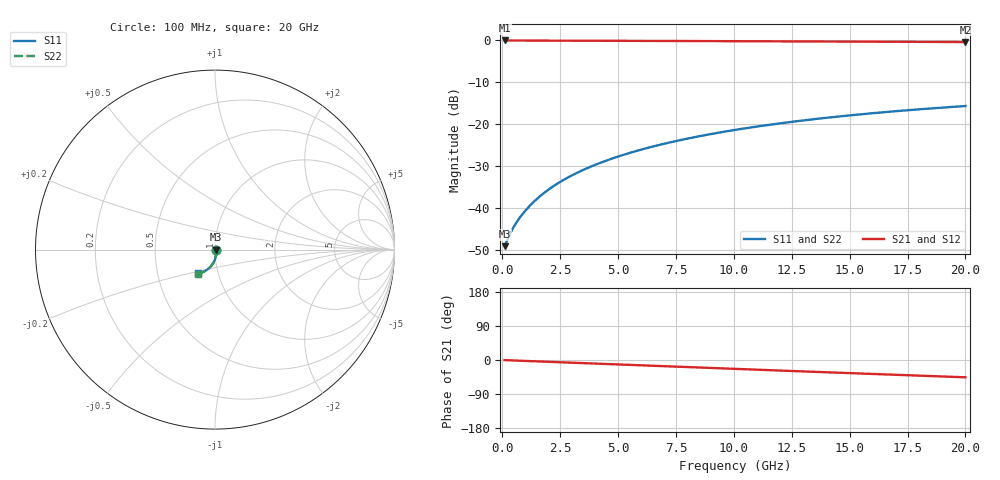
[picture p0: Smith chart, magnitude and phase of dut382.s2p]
! Touchstone file exported from HFSS 2026.1.0
!  File:  C:/ffzhzh/LocalFiles/Ansys_Project_Files/temp_train_BSMRDL_382_1783011992_53980.aedt
!  Generated:  01:07:56 AM Jul  3, 2026
!  Design:  BSMRDL
!  Project:  temp_train_BSMRDL_382_1783011992_53980
! Variables:
!  h_bsmrdl = 3.5um
!  h_ox = 20um
!  h_rdl = 5um
!  h_sub = 80um
!  h_tmrdl = 5um
!  h_tsv = 80um
!  h_via = 3um
!  l_bsmrdl = 795.44um
!  l_sub = 1195.44um
!  l_tmrdl = 200um
!  m_sub = 200um
!  pitch = 27.9um
!  r_tsv = 6um
!  s_tmrdl = 10um
!  w_bsmrdl = 25.6um
!  w_sub = 500um
!  w_tmrdl = 12um
!  x_tsv_center1 = 206um
!  x_tsv_center2 = 1027.04um
!  x_tsv_center3 = 1239.04um
!  x_tsv_center4 = 2060.08um
!  x_tsv_center5 = 2272.08um
!  x_tsv_center6 = 3093.12um
# GHz S MA R 50.000000
! Terminal data exported
! Port[1] = BSM_RDL1_1_T1
! Port[2] = BSM_RDL1_1_T2
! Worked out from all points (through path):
!   200 points, 100 MHz to 20 GHz, reference 50 ohm
!   highest |S21| = -0.03 dB at 100 MHz (marker M1); lowest = -0.4 dB at 20 GHz (marker M2)
!   group delay of S21, straight-line fit = 6.32 ps
!   lowest |S11| = -49.1 dB at 100 MHz (marker M3), VSWR 1.01, Z = 50.4 + j0.0157 ohm
!   |S11| at or under -10 dB: start of sweep to end of sweep
!   |S22| runs from -49.1 to -15.7 dB; largest |S21 - S12| = 3.6e-15
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0.1  0.003526 2.5  0.9965 -0.3  0.9965 -0.3  0.003526 2.5
! Gamma 0 0 0 0
! Port Impedance 50 0 50 0
0.4  0.00537 -10.4  0.9947 -1.1  0.9947 -1.1  0.00537 -10.4
0.6  0.006688 -23.3  0.9938 -1.6  0.9938 -1.6  0.006689 -23.3
0.9  0.008684 -38.5  0.993 -2.3  0.993 -2.3  0.008686 -38.5
1.1  0.01006 -45.9  0.9926 -2.7  0.9926 -2.7  0.01006 -45.9
1.3  0.01148 -51.8  0.9923 -3.2  0.9923 -3.2  0.01148 -51.8
1.5  0.01293 -56.5  0.9921 -3.7  0.9921 -3.7  0.01294 -56.5
1.8  0.01517 -62.0  0.9918 -4.4  0.9918 -4.4  0.01517 -61.9
2.3  0.01901 -68.5  0.9912 -5.5  0.9912 -5.5  0.01901 -68.5
2.9  0.02375 -73.9  0.9904 -7.0  0.9904 -7.0  0.02376 -73.9
3.5  0.02862 -77.9  0.9895 -8.4  0.9895 -8.4  0.02863 -77.8
4.2  0.03443 -81.5  0.9884 -10.0  0.9884 -10.0  0.03444 -81.5
5  0.04122 -84.9  0.987 -11.9  0.987 -11.9  0.04123 -84.8
5.9  0.049 -88.2  0.9853 -14.0  0.9853 -14.0  0.04902 -88.1
6.8  0.05689 -91.2  0.9835 -16.1  0.9835 -16.1  0.05692 -91.1
8.4  0.07104 -96.1  0.9802 -19.7  0.9802 -19.7  0.07108 -96.0
10.1  0.08606 -100.9  0.9766 -23.6  0.9766 -23.6  0.08612 -100.8
11.7  0.09999 -105.3  0.9731 -27.2  0.9731 -27.2  0.1001 -105.1
13.4  0.1144 -109.8  0.9694 -31.1  0.9694 -31.1  0.1145 -109.6
15  0.1275 -113.9  0.9658 -34.6  0.9658 -34.6  0.1276 -113.7
16.7  0.1409 -118.1  0.962 -38.4  0.962 -38.4  0.141 -117.9
20  0.1648 -126.2  0.9545 -45.7  0.9545 -45.7  0.165 -125.9
